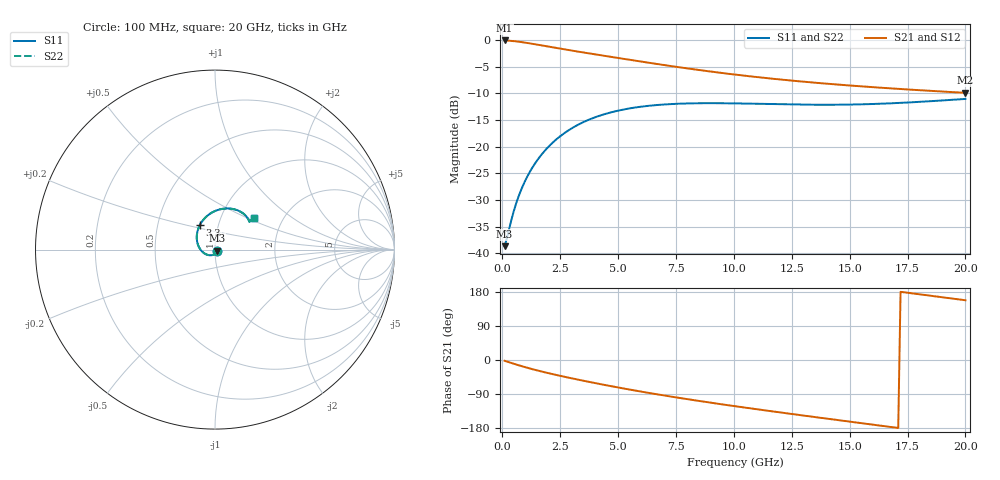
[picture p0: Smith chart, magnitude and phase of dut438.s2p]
! Touchstone file exported from HFSS 2024.1.0
!  File:  C:/UserFiles/LocalFiles/RDL_TSV_Batchsim/temp_RDL_TSV_438_1779721894.aedt
!  Generated:  11:27:22 PM May 25, 2026
!  Design:  RDL_TSV
!  Project:  temp_RDL_TSV_438_1779721894
!  Setup:  Setup1
!  Solution:  Sweep
! Variables:
!  dtsv = 14.54um
!  hbump = 3um
!  htsv = 79.67um
!  ldown = 521.17um
!  lrdl = 306.55um
!  p = 40
!  p1 = 59.08um
!  rhole = 10um
!  subl = 2789.71um
!  t = 450um
!  tdown = 2.86um
!  trdl = 4.6um
!  viad = 10um
!  wdown = 28.22um
!  wrdl = 27.92um
!  xbump = 18um
# GHz S MA R 50.000000
! Terminal data exported
! Port[1] = TM1_1_T1
! Port[2] = TM1_4_T1
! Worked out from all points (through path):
!   200 points, 100 MHz to 20 GHz, reference 50 ohm
!   highest |S21| = -0.10 dB at 100 MHz (marker M1); lowest = -9.9 dB at 20 GHz (marker M2)
!   group delay of S21, straight-line fit = 26.2 ps
!   lowest |S11| = -38.7 dB at 100 MHz (marker M3), VSWR 1.02, Z = 51.1 - j0.523 ohm
!   |S11| at or under -10 dB: start of sweep to end of sweep
!   |S22| runs from -38.7 to -11.1 dB; largest |S21 - S12| = 2.9e-14
!   S11 on the Smith chart (normalised r, x): 100 MHz: 1.02, -0.01; 3.3 GHz: 0.82, +0.23; 20 GHz: 1.43, +0.55
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0.1  0.01168 -26.0  0.9883 -2.1  0.9883 -2.1  0.01168 -26.0
! Gamma 0 0 0 0
! Port Impedance 50 0 50 0
0.5  0.02504 -94.9  0.9741 -10.0  0.9741 -10.0  0.02505 -94.9
0.7  0.034 -116.2  0.9628 -13.8  0.9628 -13.8  0.034 -116.2
1  0.04847 -141.3  0.9422 -19.1  0.9422 -19.1  0.04846 -141.3
1.3  0.0637 -161.5  0.9191 -24.2  0.9191 -24.2  0.06368 -161.5
1.7  0.08452 176.6  0.8874 -30.4  0.8874 -30.4  0.08448 176.6
2.2  0.1103 155.0  0.8494 -37.7  0.8494 -37.7  0.1102 155.0
2.7  0.1348 137.9  0.8141 -44.5  0.8141 -44.5  0.1347 137.9
3.3  0.1615 121.3  0.7751 -52.2  0.7751 -52.2  0.1614 121.3
3.5  0.1696 116.5  0.7627 -54.7  0.7627 -54.7  0.1695 116.5
4.2  0.1948 101.9  0.7214 -63.2  0.7214 -63.2  0.1946 101.9
5  0.2174 88.5  0.6772 -72.5  0.6772 -72.5  0.2171 88.5
5.9  0.2353 76.5  0.6313 -82.4  0.6313 -82.4  0.2351 76.5
6.8  0.2466 66.9  0.5895 -91.7  0.5895 -91.7  0.2464 66.9
8.4  0.255 54.4  0.5258 -107.2  0.5258 -107.2  0.2546 54.4
10.1  0.2541 46.0  0.472 -122.3  0.472 -122.3  0.2538 46.0
11.7  0.2501 41.4  0.4322 -135.9  0.4322 -135.9  0.2498 41.4
13.4  0.247 39.3  0.399 -149.8  0.399 -149.8  0.2466 39.3
15  0.2479 38.9  0.374 -162.6  0.374 -162.6  0.2475 38.9
16.7  0.2542 39.3  0.3523 -176.2  0.3523 -176.2  0.2539 39.3
18.3  0.265 39.5  0.3351 171.1  0.3351 171.1  0.2647 39.5
20  0.2799 39.1  0.3194 157.7  0.3194 157.7  0.2796 39.1
